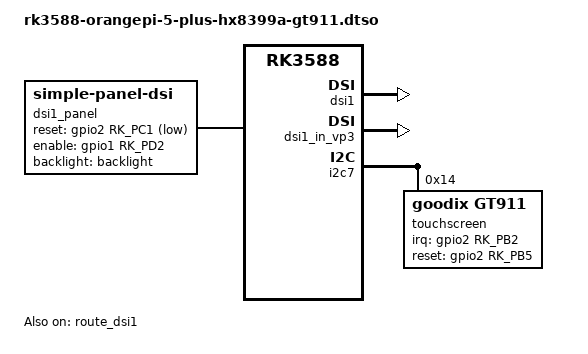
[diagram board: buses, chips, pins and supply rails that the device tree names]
/*
 * OrangePi 5 Plus 板载 30-pin DSI FPC 接 HX8399-A 1080×1920 portrait 4-lane
 * MIPI DSI 面板 + GT911 5-point 电容触摸 overlay。
 *
 * 接线（依据 vendor BSP rk3588-orangepi-5-plus-lcd.dtsi）：
 *   - DSI 控制器：&dsi1（4-lane，VOP3 → dsi1_in_vp3）
 *   - Panel reset：GPIO2_C1 active-low
 *   - Panel VCC_LCD EN：GPIO1_D2 active-high
 *   - Panel backlight：&backlight（rk3588-orangepi.dtsi:48 定义的 PWM-backlight；
 *     注意是 &backlight 不是 &backlight_1—— RK3588 全核版 dtsi 是单背光 label，
 *     与 RK3588S 的 rk3588s-orangepi.dtsi 双背光命名 backlight_1/backlight_2 不同；
 *     第一次实机 boot 时这条写错踩了 fdt_overlay_apply FDT_ERR_NOTFOUND 坑）
 *   - Touch I2C：i2c7 @ 0x14
 *   - Touch INT：GPIO2_B2 rising edge（与 cfg byte6=0x35 bit[0]=1 一致）
 *   - Touch RST：GPIO2_B5 active-high
 *
 * Panel driver：BSP simple-panel-dsi（drivers/gpu/drm/panel/panel-simple.c），
 * 通过 panel-init-sequence 字节流喂 16 条 DCS 命令（来源：LCD 厂提供的
 * LCD初始化代码.c，PacketHeader/wait/dlen/Payload 与 dts 字节格式 1:1 对应）。
 *
 * Touch driver：mainline drivers/input/touchscreen/goodix.c。compatible
 * "goodix,gt911" 命中 mainline；vendor gt9xx 仅匹配 "goodix,gt9xx"，不抢
 * 本节点。driver 启动时 request_firmware("goodix_911_cfg.bin") 拉 186B cfg
 * 下发到 chip。
 *
 * 不使用 MIPI_DSI_MODE_EOT_PACKET 旧名宏：argon BSP linux-6.1-stan-rkr5.1
 * 头文件已只剩 MIPI_DSI_MODE_NO_EOT_PACKET（新名、反语义）。不引用旧名
 * 即走"默认发 EOT"路径，与新 6.x 默认行为一致；HX8399-A 实测发 EOT 兼容。
 *
 * 全部 fragment 走 &label{} target，根级 / 仅含 metadata，不新增根级节点
 * （规避 wiki orangepi-cm4 屏适配踩过的 dtso 根级裸节点 → FDT_ERR_BADOVERLAY
 *  在 u-boot fdt_overlay_apply 阶段失败）。
 */

/dts-v1/;
/plugin/;

#include <dt-bindings/gpio/gpio.h>
#include <dt-bindings/pinctrl/rockchip.h>
#include <dt-bindings/interrupt-controller/irq.h>
#include <dt-bindings/display/drm_mipi_dsi.h>

/ {
    compatible = "rockchip,rk3588";

    metadata {
        title = "HX8399-A 1080x1920 MIPI-DSI panel + GT911 capacitive touch on 30-pin DSI FPC";
        compatible = "xunlong,orangepi-5-plus";
        category = "display";
        exclusive = "&dsi1", "&i2c7";
        description = "Drive DSI1 with HX8399-A 4-lane 1080x1920 portrait panel; GT911 5-point touch on i2c7 @0x14.";
    };
};

&dsi1 {
    status = "okay";
};

&dsi1_in_vp3 {
    status = "okay";
};

&route_dsi1 {
    status = "okay";
    connect = <&vp3_out_dsi1>;
};

&dsi1_panel {
    status = "okay";
    /* 覆盖 base dtsi 钉死的 "innolux,afj101-ba2131"（1280x800 横屏）。 */
    compatible = "simple-panel-dsi";

    reset-gpios  = <&gpio2 RK_PC1 GPIO_ACTIVE_LOW>;
    enable-gpios = <&gpio1 RK_PD2 GPIO_ACTIVE_HIGH>;
    pinctrl-names = "default";
    pinctrl-0 = <&lcd_rst_gpio>;
    backlight = <&backlight>;

    dsi,flags  = <(MIPI_DSI_MODE_VIDEO | MIPI_DSI_MODE_VIDEO_BURST | MIPI_DSI_MODE_LPM)>;
    dsi,format = <MIPI_DSI_FMT_RGB888>;
    dsi,lanes  = <4>;

    /*
     * 16 条 DCS 命令，字节格式 [data_type, delay_ms, payload_length, payload...]
     * 与 LCD 厂 .c 文件 {PacketHeader, wait, dlen, Payload[]} 1:1 对应。
     * 总字节 = 3*16 + Σpayload_length = 48 + 271 = 319。
     */
    panel-init-sequence = [
        /* 1.  EXTC password           */ 39 00 04  B9 FF 83 99
        /* 2.  MIPI control, 4-lane    */ 15 00 02  BA 43
        /* 3.  Reserved D2             */ 15 00 02  D2 44
        /* 4.  Power control B1        */ 39 00 0D  B1 00 7C 34 34 44 09 22 22 71 F1 B2 4A
        /* 5.  Display control B2      */ 39 00 0B  B2 00 80 00 7F 05 07 23 4D 21 01
        /* 6.  Timing control B4 (41B) */ 39 00 29  B4 00 FF 02 40 02 40 00 00 06 00 01 02 00 0F 01 02 05 20 00 04 44 02 40 02 40 00 00 06 00 01 02 00 0F 01 02 05 00 00 04 44
        /* 7.  GIP1 (D3) + 5ms wait    */ 39 05 20  D3 00 01 00 00 00 06 00 00 10 04 00 04 00 00 00 00 00 00 00 00 00 00 01 05 05 07 00 00 00 05 08
        /* 8.  GIP2 (D5) + 5ms         */ 39 05 21  D5 18 18 19 19 18 18 21 20 01 00 07 06 05 04 03 02 18 18 18 18 18 18 30 30 31 31 32 32 18 18 18 18
        /* 9.  GIP3 (D6) + 5ms         */ 39 05 21  D6 18 18 19 19 40 40 20 21 06 07 00 01 02 03 04 05 40 40 40 40 40 40 30 30 31 31 32 32 40 40 40 40
        /* 10. GIP4 (D8) 49 bytes      */ 39 00 31  D8 A2 AA 02 A0 A2 A8 02 A0 B0 00 00 00 B0 00 00 00 B0 00 00 00 B0 00 00 00 E2 AA 03 F0 E2 AA 03 F0 00 00 00 00 00 00 00 00 E2 AA 03 F0 E2 AA 03 F0
        /* 11. VCOM (B6)               */ 39 00 03  B6 29 29
        /* 12. Gamma (E0) 43 bytes     */ 39 00 2B  E0 01 06 06 2A 2F 3E 0F 3A 05 09 0F 13 15 14 15 12 18 07 16 07 14 01 06 06 2A 2F 3E 0F 3A 05 09 0F 13 15 14 15 12 18 07 16 07 14
        /* 13. Display inversion ON    */ 05 00 01  21
        /* 14. MADCTL = 0x02           */ 15 00 02  36 02
        /* 15. SLPOUT  + 255ms         */ 05 FF 01  11
        /* 16. DISPON  + 255ms         */ 05 FF 01  29
    ];

    disp_timings: display-timings {
        native-mode = <&dsi1_timing0>;
        dsi1_timing0: timing0 {
            clock-frequency = <148500000>;
            hactive  = <1080>;
            vactive  = <1920>;
            hback-porch  = <50>;
            hfront-porch = <100>;
            hsync-len    = <30>;
            vback-porch  = <14>;
            vfront-porch = <8>;
            vsync-len    = <2>;
            hsync-active = <0>;
            vsync-active = <0>;
            de-active    = <1>;
            pixelclk-active = <0>;
        };
    };
};

&i2c7 {
    status = "okay";

    touchscreen@14 {
        compatible = "goodix,gt911";
        reg = <0x14>;
        interrupt-parent = <&gpio2>;
        interrupts = <RK_PB2 IRQ_TYPE_EDGE_RISING>;
        irq-gpios   = <&gpio2 RK_PB2 GPIO_ACTIVE_HIGH>;
        reset-gpios = <&gpio2 RK_PB5 GPIO_ACTIVE_HIGH>;
        touchscreen-size-x = <1080>;
        touchscreen-size-y = <1920>;
        status = "okay";
    };
};
